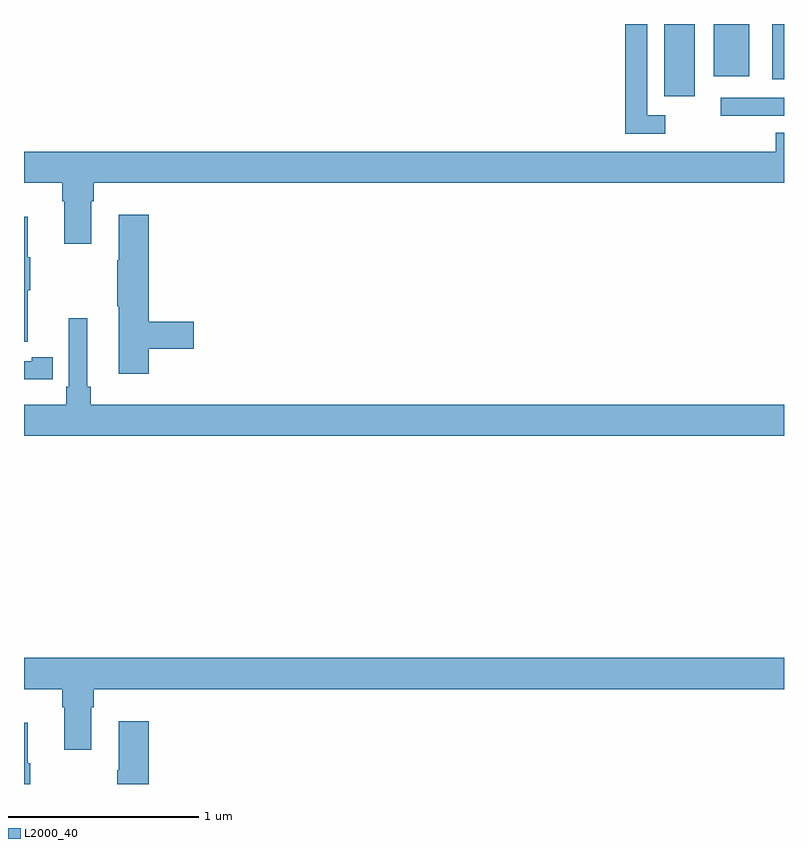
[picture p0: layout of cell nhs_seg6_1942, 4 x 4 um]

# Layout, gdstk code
import gdstk
lib = gdstk.Library(unit=1e-6, precision=1e-09)
def R(c, l, rs):  # rectangles x0, y0, x1, y1
    for r in rs: c.add(gdstk.rectangle(r[:2], r[2:], *l))
def P(c, l, *ps):  # polygons
    for p in ps: c.add(gdstk.Polygon(p, *l))
L2000_40 = (2000, 40)

nhs_seg6_1942 = lib.new_cell('nhs_seg6_1942')
R(nhs_seg6_1942, L2000_40, [(230.667,953.016,231,953.112), (230.369,953.121,230.53,953.5), (230.939,953.21,231,953.5), (230.63,953.225,230.818,953.5)])
P(nhs_seg6_1942, L2000_40, [(230.374,953.019),(230.28,953.019),(230.28,953.5),(230.164,953.5),(230.164,952.923),(230.374,952.923)],
  [(227.353,952.568),(227.366,952.568),(227.366,952.664),(231,952.664),(231,952.927),(230.957,952.927),(230.957,952.828),(227,952.828),(227,952.664),(227.201,952.664),(227.201,952.568),(227.213,952.568),(227.213,952.344),(227.353,952.344)],
  [(227.657,951.79),(227.893,951.79),(227.893,951.932),(227.657,951.932),(227.657,952.495),(227.498,952.495),(227.498,952.256),(227.491,952.256),(227.491,952.015),(227.498,952.015),(227.498,951.66),(227.657,951.66)],
  [(227.021,952.099),(227.032,952.099),(227.032,952.273),(227.021,952.273),(227.021,952.486),(227,952.486),(227,951.828),(227.021,951.828)],
  [(231,951.496),(227.351,951.496),(227.351,951.592),(227.332,951.592),(227.332,951.952),(227.235,951.952),(227.235,951.592),(227.222,951.592),(227.222,951.496),(227,951.496),(227,951.332),(231,951.332)],
  [(227.042,951.63),(227.15,951.63),(227.15,951.746),(227.042,951.746),(227.042,951.726),(227,951.726),(227,951.629),(227.042,951.629)],
  [(227.353,949.904),(227.366,949.904),(227.366,950),(231,950),(231,950.164),(227,950.164),(227,950),(227.201,950),(227.201,949.904),(227.213,949.904),(227.213,949.68),(227.353,949.68)],
  [(227.657,949.831),(227.498,949.831),(227.498,949.573),(227.491,949.573),(227.491,949.5),(227.657,949.5)],
  [(227.032,949.609),(227.021,949.609),(227.021,949.822),(227,949.822),(227,949.5),(227.032,949.5)])

lib.write_gds('nhs_seg6_1942.gds')
